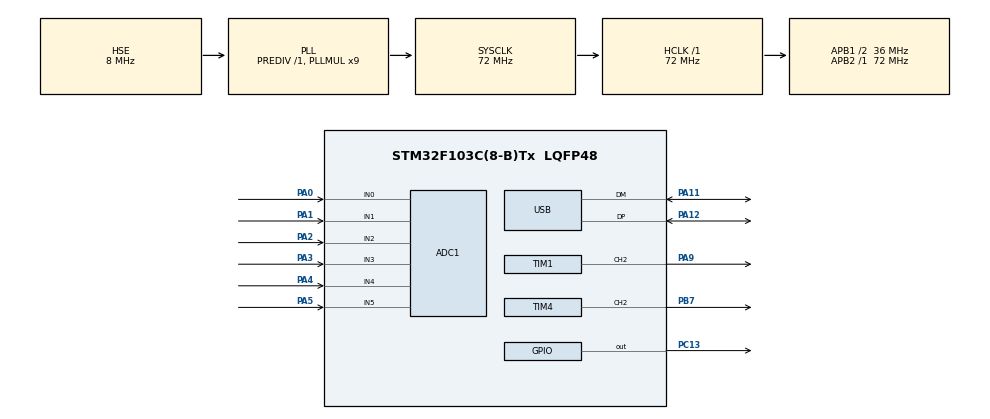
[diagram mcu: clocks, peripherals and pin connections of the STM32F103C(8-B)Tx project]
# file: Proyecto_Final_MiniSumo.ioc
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ADC1.Channel-0\#ChannelRegularConversion=ADC_CHANNEL_0
ADC1.Channel-1\#ChannelRegularConversion=ADC_CHANNEL_1
ADC1.Channel-2\#ChannelRegularConversion=ADC_CHANNEL_2
ADC1.Channel-3\#ChannelRegularConversion=ADC_CHANNEL_3
ADC1.Channel-4\#ChannelRegularConversion=ADC_CHANNEL_4
ADC1.Channel-5\#ChannelRegularConversion=ADC_CHANNEL_5
ADC1.NbrOfConversion=6
ADC1.NbrOfConversionFlag=1
ADC1.Rank-0\#ChannelRegularConversion=1
ADC1.Rank-1\#ChannelRegularConversion=2
ADC1.Rank-2\#ChannelRegularConversion=3
ADC1.Rank-3\#ChannelRegularConversion=4
ADC1.Rank-4\#ChannelRegularConversion=5
ADC1.Rank-5\#ChannelRegularConversion=6
ADC1.SamplingTime-0\#ChannelRegularConversion=ADC_SAMPLETIME_71CYCLES_5
ADC1.SamplingTime-1\#ChannelRegularConversion=ADC_SAMPLETIME_71CYCLES_5
ADC1.SamplingTime-2\#ChannelRegularConversion=ADC_SAMPLETIME_71CYCLES_5
ADC1.SamplingTime-3\#ChannelRegularConversion=ADC_SAMPLETIME_71CYCLES_5
ADC1.SamplingTime-4\#ChannelRegularConversion=ADC_SAMPLETIME_71CYCLES_5
ADC1.SamplingTime-5\#ChannelRegularConversion=ADC_SAMPLETIME_71CYCLES_5
ADC1.master=1
Dma.ADC1.0.Direction=DMA_PERIPH_TO_MEMORY
Dma.ADC1.0.Instance=DMA1_Channel1
Dma.ADC1.0.MemDataAlignment=DMA_MDATAALIGN_WORD
Dma.ADC1.0.MemInc=DMA_MINC_ENABLE
Dma.ADC1.0.Mode=DMA_CIRCULAR
Dma.ADC1.0.PeriphDataAlignment=DMA_PDATAALIGN_WORD
Dma.ADC1.0.PeriphInc=DMA_PINC_DISABLE
Dma.ADC1.0.Priority=DMA_PRIORITY_LOW
Dma.Request0=ADC1
Mcu.Family=STM32F1
Mcu.Name=STM32F103C(8-B)Tx
Mcu.Package=LQFP48
NVIC.ADC1_2_IRQn=true\:0\:0\:false\:false\:true\:true
NVIC.DMA1_Channel1_IRQn=true\:0\:0\:false\:false\:true\:false
NVIC.PriorityGroup=NVIC_PRIORITYGROUP_4
NVIC.TIM3_IRQn=true\:0\:0\:false\:false\:true\:true
NVIC.USB_LP_CAN1_RX0_IRQn=true\:0\:0\:false\:false\:true\:false
PA0-WKUP.Signal=ADCx_IN0
PA1.Signal=ADCx_IN1
PA11.Mode=Device
PA11.Signal=USB_DM
PA12.Mode=Device
PA12.Signal=USB_DP
PA13.Mode=Serial_Wire
PA13.Signal=SYS_JTMS-SWDIO
PA14.Mode=Serial_Wire
PA14.Signal=SYS_JTCK-SWCLK
PA2.Signal=ADCx_IN2
PA3.Signal=ADCx_IN3
PA4.Signal=ADCx_IN4
PA5.Signal=ADCx_IN5
PA9.Signal=S_TIM1_CH2
PB7.Signal=S_TIM4_CH2
PC13-TAMPER-RTC.Signal=GPIO_Output
PD0-OSC_IN.Mode=HSE-External-Oscillator
PD0-OSC_IN.Signal=RCC_OSC_IN
PD1-OSC_OUT.Mode=HSE-External-Oscillator
PD1-OSC_OUT.Signal=RCC_OSC_OUT
ProjectManager.HeapSize=0x200
ProjectManager.StackSize=0x400
ProjectManager.TargetToolchain=TrueSTUDIO
RCC.ADCPresc=RCC_ADCPCLK2_DIV6
RCC.AHBFreq_Value=72000000
RCC.APB1CLKDivider=RCC_HCLK_DIV2
RCC.APB1Freq_Value=36000000
RCC.APB1TimFreq_Value=72000000
RCC.APB2Freq_Value=72000000
RCC.APB2TimFreq_Value=72000000
RCC.HCLKFreq_Value=72000000
RCC.PLLMUL=RCC_PLL_MUL9
RCC.PLLSourceVirtual=RCC_PLLSOURCE_HSE
RCC.SYSCLKFreq_VALUE=72000000
RCC.SYSCLKSource=RCC_SYSCLKSOURCE_PLLCLK
RCC.USBFreq_Value=48000000
RCC.USBPrescaler=RCC_USBCLKSOURCE_PLL_DIV1_5
SH.ADCx_IN0.0=ADC1_IN0,IN0
SH.ADCx_IN1.0=ADC1_IN1,IN1
SH.ADCx_IN2.0=ADC1_IN2,IN2
SH.ADCx_IN3.0=ADC1_IN3,IN3
SH.ADCx_IN4.0=ADC1_IN4,IN4
SH.ADCx_IN5.0=ADC1_IN5,IN5
SH.S_TIM1_CH2.0=TIM1_CH2,PWM Generation2 CH2
SH.S_TIM4_CH2.0=TIM4_CH2,PWM Generation2 CH2
TIM1.Channel-PWM\ Generation2\ CH2=TIM_CHANNEL_2
TIM1.Period=99
TIM1.Prescaler=71
TIM3.Period=1
TIM3.Prescaler=36000
TIM4.Channel-PWM\ Generation2\ CH2=TIM_CHANNEL_2
TIM4.Period=99
TIM4.Prescaler=71
USB_DEVICE.CLASS_NAME_FS=CDC
USB_DEVICE.VirtualMode=Cdc
USB_DEVICE.VirtualModeFS=Cdc_FS
VP_TIM1_VS_ClockSourceINT.Mode=Internal
VP_TIM3_VS_ClockSourceINT.Mode=Internal
VP_TIM4_VS_ClockSourceINT.Mode=Internal
VP_USB_DEVICE_VS_USB_DEVICE_CDC_FS.Mode=CDC_FS
board=custom

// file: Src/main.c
/* USER CODE BEGIN Header */
/**
  ******************************************************************************
  * @file           : main.c
  * @brief          : Main program body
  ******************************************************************************
  * This notice applies to any and all portions of this file
  * that are not between comment pairs USER CODE BEGIN and
  * USER CODE END. Other portions of this file, whether
  * inserted by the user or by software development tools
  * are owned by their respective copyright owners.
  *
  * Copyright (c) 2019 STMicroelectronics International N.V.
  * All rights reserved.
  *
  * Redistribution and use in source and binary forms, with or without
  * modification, are permitted, provided that the following conditions are met:
  *
  * 1. Redistribution of source code must retain the above copyright notice,
  *    this list of conditions and the following disclaimer.
  * 2. Redistributions in binary form must reproduce the above copyright notice,
  *    this list of conditions and the following disclaimer in the documentation
  *    and/or other materials provided with the distribution.
  * 3. Neither the name of STMicroelectronics nor the names of other
  *    contributors to this software may be used to endorse or promote products
  *    derived from this software without specific written permission.
  * 4. This software, including modifications and/or derivative works of this
  *    software, must execute solely and exclusively on microcontroller or
  *    microprocessor devices manufactured by or for STMicroelectronics.
  * 5. Redistribution and use of this software other than as permitted under
  *    this license is void and will automatically terminate your rights under
  *    this license.
  *
  * THIS SOFTWARE IS PROVIDED BY STMICROELECTRONICS AND CONTRIBUTORS "AS IS"
  * AND ANY EXPRESS, IMPLIED OR STATUTORY WARRANTIES, INCLUDING, BUT NOT
  * LIMITED TO, THE IMPLIED WARRANTIES OF MERCHANTABILITY, FITNESS FOR A
  * PARTICULAR PURPOSE AND NON-INFRINGEMENT OF THIRD PARTY INTELLECTUAL PROPERTY
  * RIGHTS ARE DISCLAIMED TO THE FULLEST EXTENT PERMITTED BY LAW. IN NO EVENT
  * SHALL STMICROELECTRONICS OR CONTRIBUTORS BE LIABLE FOR ANY DIRECT, INDIRECT,
  * INCIDENTAL, SPECIAL, EXEMPLARY, OR CONSEQUENTIAL DAMAGES (INCLUDING, BUT NOT
  * LIMITED TO, PROCUREMENT OF SUBSTITUTE GOODS OR SERVICES; LOSS OF USE, DATA,
  * OR PROFITS; OR BUSINESS INTERRUPTION) HOWEVER CAUSED AND ON ANY THEORY OF
  * LIABILITY, WHETHER IN CONTRACT, STRICT LIABILITY, OR TORT (INCLUDING
  * NEGLIGENCE OR OTHERWISE) ARISING IN ANY WAY OUT OF THE USE OF THIS SOFTWARE,
  * EVEN IF ADVISED OF THE POSSIBILITY OF SUCH DAMAGE.
  *
  ******************************************************************************
  */
/* USER CODE END Header */

#include "main.h"
#include "usb_device.h"

ADC_HandleTypeDef hadc1;
DMA_HandleTypeDef hdma_adc1;

TIM_HandleTypeDef htim1;
TIM_HandleTypeDef htim3;
TIM_HandleTypeDef htim4;

/* USER CODE BEGIN PV */
volatile uint16_t timers[9],indice=0,cont=5000;
volatile uint8_t pwm1=50,pwm2=50,buffer[64];
volatile uint32_t adc_buf[6];
volatile unsigned char retorno='0',encontrado='0';

void control_motores();
void seguidor1_process();
void seguidor2_process();
void seguidor3_process();
void seguidor4_process();
void sharp1_process();
void sharp2_process();

typedef enum{
	  BUSCANDO=0,
	  ATACANDO_ATRAS,
	  ATACANDO_ADELANTE,
  }ST_MOTOR;

typedef enum{
	  S_ALERTA=0,
	  S_ESTABLE,
  }ST_SEGUIDOR;

typedef enum{
	  S_BUSCANDO=0,
	  S_FIJO,
  }ST_SHARP;

ST_MOTOR st_motores=BUSCANDO;
ST_SEGUIDOR st_seg1,st_seg2,st_seg3,st_seg4=S_ESTABLE;
ST_SHARP st_sharp1,st_sharp2=S_BUSCANDO;

  enum {
  	TMOTORES=0,
  	TSEG1,
  	TSEG2,
  	TSEG3,
  	TSEG4,
  	TSHARP1,
  	TSHARP2,
  	TADC,
  	TIMERS
  };
/* USER CODE END PV */

void SystemClock_Config(void);
static void MX_GPIO_Init(void);
static void MX_DMA_Init(void);
static void MX_TIM1_Init(void);
static void MX_TIM3_Init(void);
static void MX_TIM4_Init(void);
static void MX_ADC1_Init(void);

int main(void)

{

  /* MCU Configuration--------------------------------------------------------*/

  /* Reset of all peripherals, Initializes the Flash interface and the Systick. */
  HAL_Init();

  /* Configure the system clock */
  SystemClock_Config();

  /* Initialize all configured peripherals */
  MX_GPIO_Init();
  MX_DMA_Init();
  MX_TIM1_Init();
  MX_USB_DEVICE_Init();
  MX_TIM3_Init();
  MX_TIM4_Init();
  MX_ADC1_Init();
  /* USER CODE BEGIN 2 */
 HAL_TIM_PWM_Start(&htim1,TIM_CHANNEL_2);
 HAL_TIM_PWM_Start(&htim4,TIM_CHANNEL_2);
 //HAL_TIM_Base_Start_IT(&htim2);
 HAL_ADC_Start_DMA(&hadc1,(uint32_t*)adc_buf,6);
 HAL_ADC_Start_IT(&hadc1);
 HAL_TIM_Base_Start_IT(&htim3);
 //HAL_TIM_Base_Start(&htim4);
 __HAL_TIM_SET_COMPARE(&htim1, TIM_CHANNEL_2,pwm1);
 __HAL_TIM_SET_COMPARE(&htim4, TIM_CHANNEL_2,pwm2);
  /* USER CODE END 2 */

  /* Infinite loop */
  while (1)
  {

    /* USER CODE BEGIN 3 */
	if(cont==0){
		control_motores();
		if(timers[TADC]==0){
			HAL_ADC_Start_IT(&hadc1);
			seguidor1_process();
			seguidor2_process();
			seguidor3_process();
			if(retorno=='0'){
				//if(encontrado=='0'||encontrado=='1')
					sharp1_process();
				//if(encontrado=='0'||encontrado=='2')
					sharp2_process();
			}
			timers[TADC]=10;
		}
	}
    /*for (int i=0;i<100;i++){
		__HAL_TIM_SET_COMPARE(&htim1, TIM_CHANNEL_2,i);
		__HAL_TIM_SET_COMPARE(&htim4, TIM_CHANNEL_2,i);
		HAL_Delay(200);
	}for (int j=100;j>0;j--){
		__HAL_TIM_SET_COMPARE(&htim1, TIM_CHANNEL_2,j);
		__HAL_TIM_SET_COMPARE(&htim4, TIM_CHANNEL_2,j);
		HAL_Delay(200);
	}*/
  }
  /* USER CODE END 3 */
}

void SystemClock_Config(void)
{
  RCC_OscInitTypeDef RCC_OscInitStruct = {0};
  RCC_ClkInitTypeDef RCC_ClkInitStruct = {0};
  RCC_PeriphCLKInitTypeDef PeriphClkInit = {0};

  /**Initializes the CPU, AHB and APB busses clocks
  */
  RCC_OscInitStruct.OscillatorType = RCC_OSCILLATORTYPE_HSE;
  RCC_OscInitStruct.HSEState = RCC_HSE_ON;
  RCC_OscInitStruct.HSEPredivValue = RCC_HSE_PREDIV_DIV1;
  RCC_OscInitStruct.HSIState = RCC_HSI_ON;
  RCC_OscInitStruct.PLL.PLLState = RCC_PLL_ON;
  RCC_OscInitStruct.PLL.PLLSource = RCC_PLLSOURCE_HSE;
  RCC_OscInitStruct.PLL.PLLMUL = RCC_PLL_MUL9;
  if (HAL_RCC_OscConfig(&RCC_OscInitStruct) != HAL_OK)
  {
    Error_Handler();
  }
  /**Initializes the CPU, AHB and APB busses clocks
  */
  RCC_ClkInitStruct.ClockType = RCC_CLOCKTYPE_HCLK|RCC_CLOCKTYPE_SYSCLK
                              |RCC_CLOCKTYPE_PCLK1|RCC_CLOCKTYPE_PCLK2;
  RCC_ClkInitStruct.SYSCLKSource = RCC_SYSCLKSOURCE_PLLCLK;
  RCC_ClkInitStruct.AHBCLKDivider = RCC_SYSCLK_DIV1;
  RCC_ClkInitStruct.APB1CLKDivider = RCC_HCLK_DIV2;
  RCC_ClkInitStruct.APB2CLKDivider = RCC_HCLK_DIV1;

  if (HAL_RCC_ClockConfig(&RCC_ClkInitStruct, FLASH_LATENCY_2) != HAL_OK)
  {
    Error_Handler();
  }
  PeriphClkInit.PeriphClockSelection = RCC_PERIPHCLK_ADC|RCC_PERIPHCLK_USB;
  PeriphClkInit.AdcClockSelection = RCC_ADCPCLK2_DIV6;
  PeriphClkInit.UsbClockSelection = RCC_USBCLKSOURCE_PLL_DIV1_5;
  if (HAL_RCCEx_PeriphCLKConfig(&PeriphClkInit) != HAL_OK)
  {
    Error_Handler();
  }
}

static void MX_ADC1_Init(void)
{

  ADC_ChannelConfTypeDef sConfig = {0};

  /**Common config
  */
  hadc1.Instance = ADC1;
  hadc1.Init.ScanConvMode = ADC_SCAN_ENABLE;
  hadc1.Init.ContinuousConvMode = DISABLE;
  hadc1.Init.DiscontinuousConvMode = DISABLE;
  hadc1.Init.ExternalTrigConv = ADC_SOFTWARE_START;
  hadc1.Init.DataAlign = ADC_DATAALIGN_RIGHT;
  hadc1.Init.NbrOfConversion = 6;
  if (HAL_ADC_Init(&hadc1) != HAL_OK)
  {
    Error_Handler();
  }
  /**Configure Regular Channel
  */
  sConfig.Channel = ADC_CHANNEL_0;
  sConfig.Rank = ADC_REGULAR_RANK_1;
  sConfig.SamplingTime = ADC_SAMPLETIME_71CYCLES_5;
  if (HAL_ADC_ConfigChannel(&hadc1, &sConfig) != HAL_OK)
  {
    Error_Handler();
  }
  /**Configure Regular Channel
  */
  sConfig.Channel = ADC_CHANNEL_1;
  sConfig.Rank = ADC_REGULAR_RANK_2;
  if (HAL_ADC_ConfigChannel(&hadc1, &sConfig) != HAL_OK)
  {
    Error_Handler();
  }
  /**Configure Regular Channel
  */
  sConfig.Channel = ADC_CHANNEL_2;
  sConfig.Rank = ADC_REGULAR_RANK_3;
  if (HAL_ADC_ConfigChannel(&hadc1, &sConfig) != HAL_OK)
  {
    Error_Handler();
  }
  /**Configure Regular Channel
  */
  sConfig.Channel = ADC_CHANNEL_3;
  sConfig.Rank = ADC_REGULAR_RANK_4;
  if (HAL_ADC_ConfigChannel(&hadc1, &sConfig) != HAL_OK)
  {
    Error_Handler();
  }
  /**Configure Regular Channel
  */
  sConfig.Channel = ADC_CHANNEL_4;
  sConfig.Rank = ADC_REGULAR_RANK_5;
  if (HAL_ADC_ConfigChannel(&hadc1, &sConfig) != HAL_OK)
  {
    Error_Handler();
  }
  /**Configure Regular Channel
  */
  sConfig.Channel = ADC_CHANNEL_5;
  sConfig.Rank = ADC_REGULAR_RANK_6;
  if (HAL_ADC_ConfigChannel(&hadc1, &sConfig) != HAL_OK)
  {
    Error_Handler();
  }

}

static void MX_TIM1_Init(void)
{

  TIM_ClockConfigTypeDef sClockSourceConfig = {0};
  TIM_MasterConfigTypeDef sMasterConfig = {0};
  TIM_OC_InitTypeDef sConfigOC = {0};
  TIM_BreakDeadTimeConfigTypeDef sBreakDeadTimeConfig = {0};

  htim1.Instance = TIM1;
  htim1.Init.Prescaler = 71;
  htim1.Init.CounterMode = TIM_COUNTERMODE_UP;
  htim1.Init.Period = 99;
  htim1.Init.ClockDivision = TIM_CLOCKDIVISION_DIV1;
  htim1.Init.RepetitionCounter = 0;
  htim1.Init.AutoReloadPreload = TIM_AUTORELOAD_PRELOAD_DISABLE;
  if (HAL_TIM_Base_Init(&htim1) != HAL_OK)
  {
    Error_Handler();
  }
  sClockSourceConfig.ClockSource = TIM_CLOCKSOURCE_INTERNAL;
  if (HAL_TIM_ConfigClockSource(&htim1, &sClockSourceConfig) != HAL_OK)
  {
    Error_Handler();
  }
  if (HAL_TIM_PWM_Init(&htim1) != HAL_OK)
  {
    Error_Handler();
  }
  sMasterConfig.MasterOutputTrigger = TIM_TRGO_RESET;
  sMasterConfig.MasterSlaveMode = TIM_MASTERSLAVEMODE_DISABLE;
  if (HAL_TIMEx_MasterConfigSynchronization(&htim1, &sMasterConfig) != HAL_OK)
  {
    Error_Handler();
  }
  sConfigOC.OCMode = TIM_OCMODE_PWM1;
  sConfigOC.Pulse = 0;
  sConfigOC.OCPolarity = TIM_OCPOLARITY_HIGH;
  sConfigOC.OCNPolarity = TIM_OCNPOLARITY_HIGH;
  sConfigOC.OCFastMode = TIM_OCFAST_DISABLE;
  sConfigOC.OCIdleState = TIM_OCIDLESTATE_RESET;
  sConfigOC.OCNIdleState = TIM_OCNIDLESTATE_RESET;
  if (HAL_TIM_PWM_ConfigChannel(&htim1, &sConfigOC, TIM_CHANNEL_2) != HAL_OK)
  {
    Error_Handler();
  }
  sBreakDeadTimeConfig.OffStateRunMode = TIM_OSSR_DISABLE;
  sBreakDeadTimeConfig.OffStateIDLEMode = TIM_OSSI_DISABLE;
  sBreakDeadTimeConfig.LockLevel = TIM_LOCKLEVEL_OFF;
  sBreakDeadTimeConfig.DeadTime = 0;
  sBreakDeadTimeConfig.BreakState = TIM_BREAK_DISABLE;
  sBreakDeadTimeConfig.BreakPolarity = TIM_BREAKPOLARITY_HIGH;
  sBreakDeadTimeConfig.AutomaticOutput = TIM_AUTOMATICOUTPUT_DISABLE;
  if (HAL_TIMEx_ConfigBreakDeadTime(&htim1, &sBreakDeadTimeConfig) != HAL_OK)
  {
    Error_Handler();
  }
  HAL_TIM_MspPostInit(&htim1);

}

static void MX_TIM3_Init(void)
{

  TIM_ClockConfigTypeDef sClockSourceConfig = {0};
  TIM_MasterConfigTypeDef sMasterConfig = {0};

  htim3.Instance = TIM3;
  htim3.Init.Prescaler = 36000;
  htim3.Init.CounterMode = TIM_COUNTERMODE_UP;
  htim3.Init.Period = 1;
  htim3.Init.ClockDivision = TIM_CLOCKDIVISION_DIV1;
  htim3.Init.AutoReloadPreload = TIM_AUTORELOAD_PRELOAD_DISABLE;
  if (HAL_TIM_Base_Init(&htim3) != HAL_OK)
  {
    Error_Handler();
  }
  sClockSourceConfig.ClockSource = TIM_CLOCKSOURCE_INTERNAL;
  if (HAL_TIM_ConfigClockSource(&htim3, &sClockSourceConfig) != HAL_OK)
  {
    Error_Handler();
  }
  sMasterConfig.MasterOutputTrigger = TIM_TRGO_RESET;
  sMasterConfig.MasterSlaveMode = TIM_MASTERSLAVEMODE_DISABLE;
  if (HAL_TIMEx_MasterConfigSynchronization(&htim3, &sMasterConfig) != HAL_OK)
  {
    Error_Handler();
  }

}

static void MX_TIM4_Init(void)
{

  TIM_ClockConfigTypeDef sClockSourceConfig = {0};
  TIM_MasterConfigTypeDef sMasterConfig = {0};
  TIM_OC_InitTypeDef sConfigOC = {0};

  htim4.Instance = TIM4;
  htim4.Init.Prescaler = 71;
  htim4.Init.CounterMode = TIM_COUNTERMODE_UP;
  htim4.Init.Period = 99;
  htim4.Init.ClockDivision = TIM_CLOCKDIVISION_DIV1;
  htim4.Init.AutoReloadPreload = TIM_AUTORELOAD_PRELOAD_DISABLE;
  if (HAL_TIM_Base_Init(&htim4) != HAL_OK)
  {
    Error_Handler();
  }
  sClockSourceConfig.ClockSource = TIM_CLOCKSOURCE_INTERNAL;
  if (HAL_TIM_ConfigClockSource(&htim4, &sClockSourceConfig) != HAL_OK)
  {
    Error_Handler();
  }
  if (HAL_TIM_PWM_Init(&htim4) != HAL_OK)
  {
    Error_Handler();
  }
  sMasterConfig.MasterOutputTrigger = TIM_TRGO_RESET;
  sMasterConfig.MasterSlaveMode = TIM_MASTERSLAVEMODE_DISABLE;
  if (HAL_TIMEx_MasterConfigSynchronization(&htim4, &sMasterConfig) != HAL_OK)
  {
    Error_Handler();
  }
  sConfigOC.OCMode = TIM_OCMODE_PWM1;
  sConfigOC.Pulse = 0;
  sConfigOC.OCPolarity = TIM_OCPOLARITY_HIGH;
  sConfigOC.OCFastMode = TIM_OCFAST_DISABLE;
  if (HAL_TIM_PWM_ConfigChannel(&htim4, &sConfigOC, TIM_CHANNEL_2) != HAL_OK)
  {
    Error_Handler();
  }
  HAL_TIM_MspPostInit(&htim4);

}

static void MX_DMA_Init(void)
{
  /* DMA controller clock enable */
  __HAL_RCC_DMA1_CLK_ENABLE();

  /* DMA interrupt init */
  /* DMA1_Channel1_IRQn interrupt configuration */
  HAL_NVIC_SetPriority(DMA1_Channel1_IRQn, 0, 0);
  HAL_NVIC_EnableIRQ(DMA1_Channel1_IRQn);

}

static void MX_GPIO_Init(void)
{
  GPIO_InitTypeDef GPIO_InitStruct = {0};

  /* GPIO Ports Clock Enable */
  __HAL_RCC_GPIOC_CLK_ENABLE();
  __HAL_RCC_GPIOD_CLK_ENABLE();
  __HAL_RCC_GPIOA_CLK_ENABLE();
  __HAL_RCC_GPIOB_CLK_ENABLE();

  /*Configure GPIO pin Output Level */
  HAL_GPIO_WritePin(GPIOC, GPIO_PIN_13, GPIO_PIN_RESET);

  /*Configure GPIO pin : PC13 */
  GPIO_InitStruct.Pin = GPIO_PIN_13;
  GPIO_InitStruct.Mode = GPIO_MODE_OUTPUT_PP;
  GPIO_InitStruct.Pull = GPIO_NOPULL;
  GPIO_InitStruct.Speed = GPIO_SPEED_FREQ_LOW;
  HAL_GPIO_Init(GPIOC, &GPIO_InitStruct);

}

/* USER CODE BEGIN 4 */
void HAL_TIM_PeriodElapsedCallback(TIM_HandleTypeDef *htim){

	if(htim->Instance == TIM3){
		uint8_t i;
		/* Comprueba si la duraciСn de cada timer se ha completado. El for comprueba el estado de
		 * cada uno de los 4 leds.
		 * Si el valor de cada timer es mayor a 0, quiere decir que el tiempo no
		 * se ha completado. Por lo tanto se le disminuye 1 al valor o tiempo restante
		*/
		/*cont++;
		if(cont==2000)
			HAL_GPIO_WritePin(GPIOA,Led_1_PA1_Pin,GPIO_PIN_SET);*/
		for(i=0;i<TIMERS;i++){
			if(timers[i]!=0){
				timers[i]--;
			}
		}if(cont>=1){
			cont--;
		}
	}
}

void HAL_ADC_ConvCpltCallback(ADC_HandleTypeDef* hadc){
	uint32_t val[6];
	if(hadc->Instance==ADC1){
		val[0]=adc_buf[0];val[1]=adc_buf[1];
		val[2]=adc_buf[2];val[3]=adc_buf[3];
		val[4]=adc_buf[4];val[6]=adc_buf[5];
	}
}

void control_motores(){
	switch(st_motores){
		case BUSCANDO:
			if(timers[TMOTORES]==0){
				if(pwm1<=99||pwm2>=1){
					pwm1++;
					pwm2--;
					__HAL_TIM_SET_COMPARE(&htim1, TIM_CHANNEL_2,pwm1);
					__HAL_TIM_SET_COMPARE(&htim4, TIM_CHANNEL_2,pwm2);
					/*pwm1++;
					pwm2--;*/
				}
				timers[TMOTORES]=1;
			}
		break;
		case ATACANDO_ATRAS:
			if(timers[TMOTORES]==0){
				if(pwm1<=99||pwm2<=99){
					pwm1++;
					pwm2++;
					__HAL_TIM_SET_COMPARE(&htim1, TIM_CHANNEL_2,pwm1);
					__HAL_TIM_SET_COMPARE(&htim4, TIM_CHANNEL_2,pwm2);
				}
				timers[TMOTORES]=1;
			}
		break;
		case ATACANDO_ADELANTE:
			if(timers[TMOTORES]==0){
				if(pwm1>=1||pwm2>=1){
					pwm1--;
					pwm2--;
					__HAL_TIM_SET_COMPARE(&htim1, TIM_CHANNEL_2,pwm1);
					__HAL_TIM_SET_COMPARE(&htim4, TIM_CHANNEL_2,pwm2);
				}
				timers[TMOTORES]=1;
			}
		break;
	}
}

void seguidor1_process(){
		switch(st_seg1){
			case S_ESTABLE:
				//if(timers[TSEG1]==0){
					if(adc_buf[1]<2500){
						st_seg1=S_ALERTA;
						st_motores=ATACANDO_ADELANTE;
						timers[TSEG1]=500;
						retorno='1';
						pwm1=50;pwm2=50;
					}
				//}
			break;
			case S_ALERTA:
				if(timers[TSEG1]==0){
					if(adc_buf[1]<2500)
						timers[TSEG1]=500;
					else{
						st_seg1=S_ESTABLE;
						st_motores=BUSCANDO;
						timers[TSEG1]=10;
						retorno='0';
						pwm1=50;pwm2=50;
						//HAL_ADC_Stop(&hadc1);
					}
				}
			break;
		}
}

void seguidor2_process(){
		switch(st_seg2){
			case S_ESTABLE:
				//if(timers[TSEG2]==0){
					if(adc_buf[2]<2500){
						st_seg2=S_ALERTA;
						st_motores=ATACANDO_ADELANTE;
						timers[TSEG2]=500;
						retorno='1';
						pwm1=50;pwm2=50;
					}
				//}
			break;
			case S_ALERTA:
				if(timers[TSEG2]==0){
					if(adc_buf[2]<2500)
						timers[TSEG2]=500;
					else{
						st_seg2=S_ESTABLE;
						st_motores=BUSCANDO;
						timers[TSEG2]=10;
						retorno='0';
						pwm1=50;pwm2=50;
						//HAL_ADC_Stop(&hadc1);
					}
				}
			break;
		}
}

void seguidor3_process(){
		switch(st_seg3){
			case S_ESTABLE:
				if(timers[TSEG3]==0){
					if(adc_buf[3]<2500){
						st_seg3=S_ALERTA;
						st_motores=ATACANDO_ATRAS;
						timers[TSEG3]=500;
						retorno='1';
						pwm1=50;pwm2=50;
					}
				}
			break;
			case S_ALERTA:
				if(timers[TSEG3]==0){
					if(adc_buf[3]<2500)
						timers[TSEG3]=500;
					else{
						st_seg3=S_ESTABLE;
						st_motores=BUSCANDO;
						timers[TSEG3]=10;
						retorno='0';
						pwm1=50;pwm2=50;
						//HAL_ADC_Stop(&hadc1);
					}
				}
			break;
		}
}

void sharp1_process(){
		switch(st_sharp1){
			case S_BUSCANDO:
				if(timers[TSHARP1]==0){
					if(adc_buf[4]>2500){
						st_sharp1=S_FIJO;
						st_motores=ATACANDO_ATRAS;
						timers[TSHARP1]=10;
						encontrado='1';
						pwm1=50;pwm2=50;
					}
				}
			break;
			case S_FIJO:
				if(timers[TSHARP1]==0){
					if(adc_buf[4]>2500)
						timers[TSHARP1]=10;
					else{
						st_sharp1=S_BUSCANDO;
						st_motores=BUSCANDO;
						timers[TSHARP1]=10;
						encontrado='0';
						pwm1=50;pwm2=50;
						//HAL_ADC_Stop(&hadc1);
					}
				}
			break;
		}
}

void sharp2_process(){
		switch(st_sharp2){
			case S_BUSCANDO:
				if(timers[TSHARP2]==0){
					if(adc_buf[5]>2500){
						st_sharp2=S_FIJO;
						st_motores=ATACANDO_ADELANTE;
						timers[TSHARP2]=10;
						encontrado='2';
						pwm1=50;pwm2=50;
					}
				}
			break;
			case S_FIJO:
				if(timers[TSHARP2]==0){
					if(adc_buf[5]>2500)
						timers[TSHARP2]=10;
					else{
						st_sharp2=S_BUSCANDO;
						st_motores=BUSCANDO;
						timers[TSHARP2]=10;
						encontrado='0';
						pwm1=50;pwm2=50;
						//HAL_ADC_Stop(&hadc1);
					}
				}
			break;
		}
}
void CDC_Receive_Callback(uint8_t *buf,uint32_t len){
	memcpy(buffer+indice,buf,len);
	indice=indice+len;
	indice=0;
	if(buffer[0]=='1'){
		pwm1=49;
		pwm2=49;
		st_motores=ATACANDO_ATRAS;
	}else if(buffer[0]=='2'){
		pwm1=51;
		pwm2=51;
		st_motores=ATACANDO_ADELANTE;
	}else if(buffer[0]=='0'){
		pwm1=50;
		pwm2=50;
		st_motores=BUSCANDO;
	}

}

//HAL_GPIO_ReadPin(GPIOB,Pulsador2_PB13_Pin)==GPIO_PIN_RESET
/* USER CODE END 4 */

void Error_Handler(void)
{
}

/************************ (C) COPYRIGHT STMicroelectronics *****END OF FILE****/
